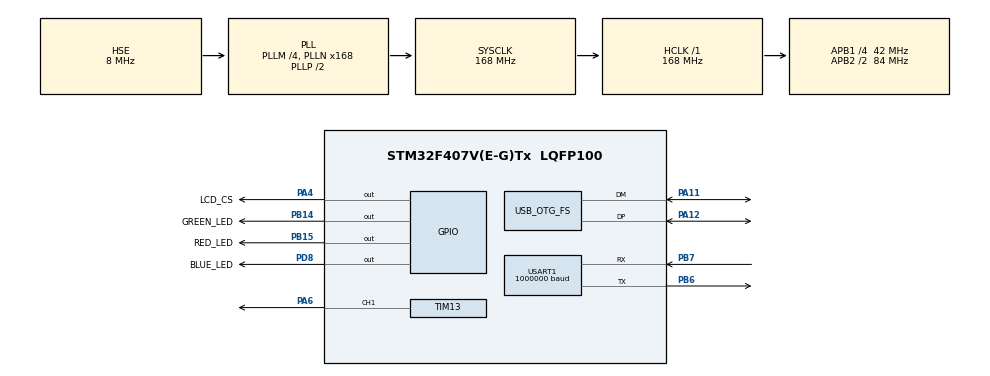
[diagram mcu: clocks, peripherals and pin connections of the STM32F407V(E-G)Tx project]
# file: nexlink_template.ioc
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FREERTOS.MEMORY_ALLOCATION=2
FREERTOS.Tasks01=defaultTask,0,128,StartDefaultTask,Default,NULL,Static,defaultTaskBuffer,defaultTaskControlBlock
FREERTOS.configENABLE_FPU=1
Mcu.Family=STM32F4
Mcu.Name=STM32F407V(E-G)Tx
Mcu.Package=LQFP100
NVIC.OTG_FS_IRQn=true\:5\:0\:false\:false\:true\:true\:false\:true\:true
NVIC.PriorityGroup=NVIC_PRIORITYGROUP_4
NVIC.TIM3_IRQn=true\:5\:0\:false\:false\:true\:true\:true\:true\:true
NVIC.TIM6_DAC_IRQn=true\:15\:0\:false\:false\:true\:false\:false\:true\:true
NVIC.TimeBase=TIM6_DAC_IRQn
NVIC.TimeBaseIP=TIM6
PA11.Mode=Device_Only
PA11.Signal=USB_OTG_FS_DM
PA12.Mode=Device_Only
PA12.Signal=USB_OTG_FS_DP
PA13.Mode=Serial_Wire
PA13.Signal=SYS_JTMS-SWDIO
PA14.Mode=Serial_Wire
PA14.Signal=SYS_JTCK-SWCLK
PA4.GPIO_Label=LCD_CS
PA4.GPIO_ModeDefaultOutputPP=GPIO_MODE_OUTPUT_PP
PA4.GPIO_PuPd=GPIO_PULLUP
PA4.GPIO_Speed=GPIO_SPEED_FREQ_VERY_HIGH
PA4.PinState=GPIO_PIN_SET
PA4.Signal=GPIO_Output
PA6.Signal=S_TIM13_CH1
PB14.GPIO_Label=GREEN_LED
PB14.GPIO_ModeDefaultOutputPP=GPIO_MODE_OUTPUT_PP
PB14.GPIO_PuPd=GPIO_PULLUP
PB14.GPIO_Speed=GPIO_SPEED_FREQ_LOW
PB14.PinState=GPIO_PIN_RESET
PB14.Signal=GPIO_Output
PB15.GPIO_Label=RED_LED
PB15.GPIO_ModeDefaultOutputPP=GPIO_MODE_OUTPUT_PP
PB15.GPIO_PuPd=GPIO_PULLUP
PB15.GPIO_Speed=GPIO_SPEED_FREQ_LOW
PB15.PinState=GPIO_PIN_RESET
PB15.Signal=GPIO_Output
PB6.Mode=Asynchronous
PB6.Signal=USART1_TX
PB7.Mode=Asynchronous
PB7.Signal=USART1_RX
PC14-OSC32_IN.Mode=LSE-External-Oscillator
PC14-OSC32_IN.Signal=RCC_OSC32_IN
PC15-OSC32_OUT.Mode=LSE-External-Oscillator
PC15-OSC32_OUT.Signal=RCC_OSC32_OUT
PD8.GPIO_Label=BLUE_LED
PD8.GPIO_ModeDefaultOutputPP=GPIO_MODE_OUTPUT_PP
PD8.GPIO_PuPd=GPIO_PULLUP
PD8.GPIO_Speed=GPIO_SPEED_FREQ_LOW
PD8.PinState=GPIO_PIN_RESET
PD8.Signal=GPIO_Output
PH0-OSC_IN.Mode=HSE-External-Oscillator
PH0-OSC_IN.Signal=RCC_OSC_IN
PH1-OSC_OUT.Mode=HSE-External-Oscillator
PH1-OSC_OUT.Signal=RCC_OSC_OUT
ProjectManager.HeapSize=0x800
ProjectManager.StackSize=0x1000
ProjectManager.TargetToolchain=MDK-ARM V5.32
RCC.48MHZClocksFreq_Value=48000000
RCC.AHBFreq_Value=168000000
RCC.APB1CLKDivider=RCC_HCLK_DIV4
RCC.APB1Freq_Value=42000000
RCC.APB1TimFreq_Value=84000000
RCC.APB2CLKDivider=RCC_HCLK_DIV2
RCC.APB2Freq_Value=84000000
RCC.APB2TimFreq_Value=168000000
RCC.CortexFreq_Value=168000000
RCC.HCLKFreq_Value=168000000
RCC.HSE_VALUE=8000000
RCC.HSI_VALUE=16000000
RCC.PLLM=4
RCC.PLLN=168
RCC.PLLQ=7
RCC.SYSCLKFreq_VALUE=168000000
RCC.SYSCLKSource=RCC_SYSCLKSOURCE_PLLCLK
RCC.VCOOutputFreq_Value=336000000
RTC.Format=RTC_FORMAT_BIN
SH.S_TIM13_CH1.0=TIM13_CH1,PWM Generation1 CH1
TIM13.Channel=TIM_CHANNEL_1
TIM13.OCPolarity_1=TIM_OCPOLARITY_HIGH
TIM13.Period=1000-1
TIM13.Prescaler=84-1
TIM13.Pulse=0
TIM3.Period=999
TIM3.Prescaler=84-1
USART1.BaudRate=1000000
USART1.VirtualMode=VM_ASYNC
USB_DEVICE.CLASS_NAME_FS=CDC
USB_DEVICE.VirtualMode-CDC_FS=Cdc
USB_DEVICE.VirtualModeFS=Cdc_FS
USB_OTG_FS.VirtualMode=Device_Only
VP_CRC_VS_CRC.Mode=CRC_Activate
VP_FREERTOS_VS_CMSIS_V1.Mode=CMSIS_V1
VP_RNG_VS_RNG.Mode=RNG_Activate
VP_RTC_VS_RTC_Activate.Mode=RTC_Enabled
VP_RTC_VS_RTC_Calendar.Mode=RTC_Calendar
VP_SYS_VS_tim6.Mode=TIM6
VP_TIM13_VS_ClockSourceINT.Mode=Enable_Timer
VP_TIM3_VS_ClockSourceINT.Mode=Internal
VP_USB_DEVICE_VS_USB_DEVICE_CDC_FS.Mode=CDC_FS
board=custom

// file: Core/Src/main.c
/* USER CODE BEGIN Header */
/**
  ******************************************************************************
  * @file           : main.c
  * @brief          : Main program body
  ******************************************************************************
  * @attention
  *
  * Copyright (c) 2024 STMicroelectronics.
  * All rights reserved.
  *
  * This software is licensed under terms that can be found in the LICENSE file
  * in the root directory of this software component.
  * If no LICENSE file comes with this software, it is provided AS-IS.
  *
  ******************************************************************************
  */
/* USER CODE END Header */
#include "main.h"
#include "cmsis_os.h"
#include "crc.h"
#include "rng.h"
#include "rtc.h"
#include "tim.h"
#include "usart.h"
#include "gpio.h"

/* USER CODE BEGIN Includes */

#include <stdarg.h>
#include "usbd_def.h"
#include "usbd_desc.h"
#include "usbd_core.h"
#include "nex_usb.h"
#include "usbd_nex_link.h"
/* USER CODE END Includes */

/* USER CODE BEGIN PV */
USBD_HandleTypeDef hUSB;
/* USER CODE END PV */

void SystemClock_Config(void);
void MX_FREERTOS_Init(void);

/* USER CODE BEGIN 0 */
uint8_t debug_buf[DEBUG_BUF_SIZE] = {0};
extern bool usbavaliable;
int usb_printf(const char* pcFormat, ...)
{
  va_list args;
  int len = 0;
  memset(debug_buf, 0, sizeof debug_buf);
  va_start(args, pcFormat);

  len = vsnprintf((char*)debug_buf, sizeof(debug_buf), pcFormat, args);
	if(usbavaliable)
		USBD_NEX_LINK_Transmit(&hUSB, debug_buf, len);
  va_end(args);

  return len;
}
uint16_t grambuff_usb[1024];

nex_usb_des des = {
.brides = {
	.brightness = 300,
	.damp = 500
}
};

void MX_USB_DEVICE_Init()
{
  USBD_Init(&hUSB, &FS_Desc, DEVICE_FS);
  USBD_RegisterClass(&hUSB, &USBD_NEX_LINK);
  USBD_NEX_LINK_Init(&hUSB, grambuff_usb, &des);
  USBD_Start(&hUSB);
}

/* USER CODE END 0 */

int main(void)
{
  /* USER CODE BEGIN 1 */

	struct tm tm_local;
	char time_str[32];
  /* USER CODE END 1 */

  /* MCU Configuration--------------------------------------------------------*/

  /* Reset of all peripherals, Initializes the Flash interface and the Systick. */
  HAL_Init();

  /* Configure the system clock */
  SystemClock_Config();

  /* Initialize all configured peripherals */
  MX_GPIO_Init();
  MX_USART1_UART_Init();
  MX_TIM13_Init();
  MX_CRC_Init();
  MX_RNG_Init();
  MX_TIM3_Init();
  MX_RTC_Init();

  /* Call init function for freertos objects (in freertos.c) */
//  MX_FREERTOS_Init();

  /* Start scheduler */
//  osKernelStart();

  /* We should never get here as control is now taken by the scheduler */
  /* Infinite loop */
  /* USER CODE BEGIN WHILE */
  MX_USB_DEVICE_Init();
  while (1)
  {
    /* USER CODE END WHILE */

    /* USER CODE BEGIN 3 */
//		SYS_GetTime(&tm_local);
//		// 格式化时间为字符串
//		if (strftime(time_str, sizeof(time_str), "%Y-%m-%d %H:%M:%S", &tm_local) != 0) {
//				dbmsg("%s\n", time_str); // 打印时间
//		} else {
//				dbmsg("Failed to format time\n");
//		}
//		HAL_Delay(10000);
  }
  /* USER CODE END 3 */
}

void SystemClock_Config(void)
{
  RCC_OscInitTypeDef RCC_OscInitStruct = {0};
  RCC_ClkInitTypeDef RCC_ClkInitStruct = {0};

  /** Configure the main internal regulator output voltage
  */
  __HAL_RCC_PWR_CLK_ENABLE();
  __HAL_PWR_VOLTAGESCALING_CONFIG(PWR_REGULATOR_VOLTAGE_SCALE1);

  /** Initializes the RCC Oscillators according to the specified parameters
  * in the RCC_OscInitTypeDef structure.
  */
  RCC_OscInitStruct.OscillatorType = RCC_OSCILLATORTYPE_LSI|RCC_OSCILLATORTYPE_HSE;
  RCC_OscInitStruct.HSEState = RCC_HSE_ON;
  RCC_OscInitStruct.LSIState = RCC_LSI_ON;
  RCC_OscInitStruct.PLL.PLLState = RCC_PLL_ON;
  RCC_OscInitStruct.PLL.PLLSource = RCC_PLLSOURCE_HSE;
  RCC_OscInitStruct.PLL.PLLM = 4;
  RCC_OscInitStruct.PLL.PLLN = 168;
  RCC_OscInitStruct.PLL.PLLP = RCC_PLLP_DIV2;
  RCC_OscInitStruct.PLL.PLLQ = 7;
  if (HAL_RCC_OscConfig(&RCC_OscInitStruct) != HAL_OK)
  {
    Error_Handler();
  }

  /** Initializes the CPU, AHB and APB buses clocks
  */
  RCC_ClkInitStruct.ClockType = RCC_CLOCKTYPE_HCLK|RCC_CLOCKTYPE_SYSCLK
                              |RCC_CLOCKTYPE_PCLK1|RCC_CLOCKTYPE_PCLK2;
  RCC_ClkInitStruct.SYSCLKSource = RCC_SYSCLKSOURCE_PLLCLK;
  RCC_ClkInitStruct.AHBCLKDivider = RCC_SYSCLK_DIV1;
  RCC_ClkInitStruct.APB1CLKDivider = RCC_HCLK_DIV4;
  RCC_ClkInitStruct.APB2CLKDivider = RCC_HCLK_DIV2;

  if (HAL_RCC_ClockConfig(&RCC_ClkInitStruct, FLASH_LATENCY_5) != HAL_OK)
  {
    Error_Handler();
  }
}

void HAL_TIM_PeriodElapsedCallback(TIM_HandleTypeDef *htim)
{
  if (htim->Instance == TIM6) {
    HAL_IncTick();
  }
}

void Error_Handler(void)
{
  __disable_irq();
  while (1)
  {
  }
}
